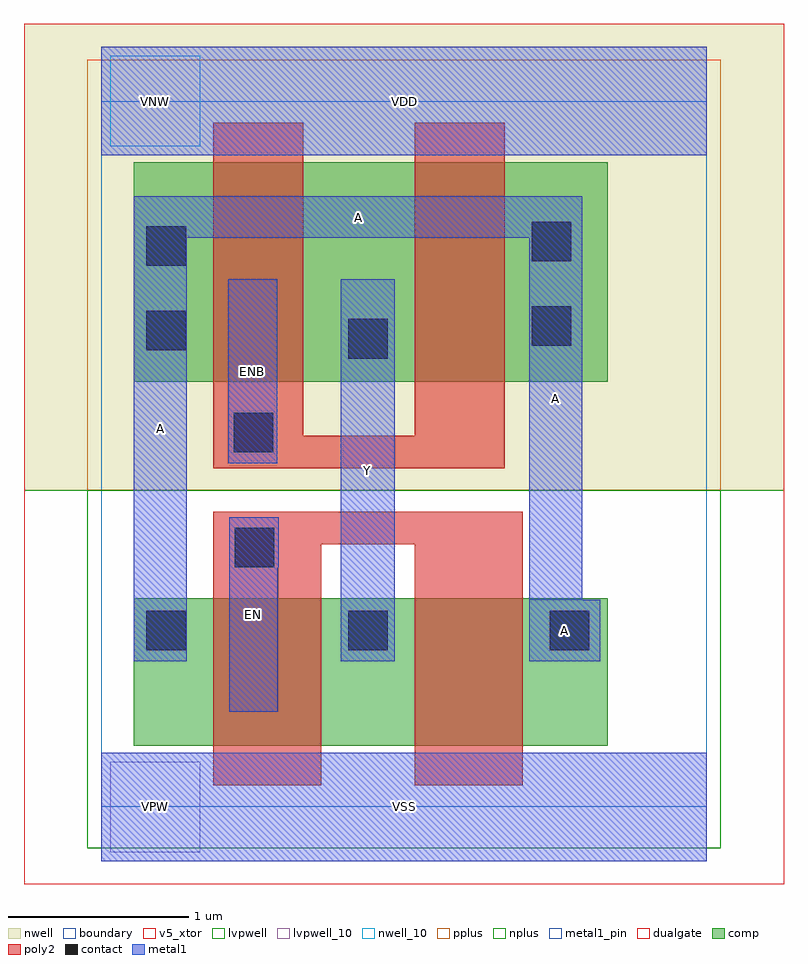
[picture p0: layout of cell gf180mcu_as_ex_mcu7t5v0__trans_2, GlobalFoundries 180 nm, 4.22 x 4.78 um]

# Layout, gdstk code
import gdstk
lib = gdstk.Library(unit=1e-6, precision=1e-09)
def R(c, l, rs):  # rectangles x0, y0, x1, y1
    for r in rs: c.add(gdstk.rectangle(r[:2], r[2:], *l))
def A(c, l, x, y, w, h, nx, ny, dx, dy):  # array of equal rectangles
    R(c, l, [(x+i*dx, y+j*dy, x+i*dx+w, y+j*dy+h) for i in range(nx) for j in range(ny)])
boundary = (0, 0)
nwell = (21, 0)
nwell_10 = (21, 10)
comp = (22, 0)
poly2 = (30, 0)
pplus = (31, 0)
nplus = (32, 0)
contact = (33, 0)
metal1 = (34, 0)
metal1_pin = (34, 10)
dualgate = (55, 0)
v5_xtor = (112, 1)
lvpwell = (204, 0)
lvpwell_10 = (204, 10)

gf180mcu_as_ex_mcu7t5v0_ = lib.new_cell('gf180mcu_as_ex_mcu7t5v0__trans_2')
R(gf180mcu_as_ex_mcu7t5v0_, boundary, [(0,0,3.36,3.92)])
R(gf180mcu_as_ex_mcu7t5v0_, nwell, [(-0.43,1.76,3.79,4.35)])
R(gf180mcu_as_ex_mcu7t5v0_, nwell_10, [(0.705,1.91,0.975,2.93), (0.05,3.67,0.55,4.17)])
R(gf180mcu_as_ex_mcu7t5v0_, comp, [(0.18,0.34,2.81,1.16), (0.18,2.36,2.81,3.58)])
R(gf180mcu_as_ex_mcu7t5v0_, poly2, [(0.62,0.12,1.22,1.46), (1.74,0.12,2.34,1.46), (0.62,1.46,2.34,1.64), (0.62,1.88,2.24,2.06), (0.62,2.06,1.12,3.8), (1.74,2.06,2.24,3.8)])
R(gf180mcu_as_ex_mcu7t5v0_, pplus, [(-0.08,1.76,3.44,4.15), (0.39,2.13,2.47,2.2), (0.02,2.2,2.97,3.74), (0.39,3.74,2.47,3.81)])
R(gf180mcu_as_ex_mcu7t5v0_, nplus, [(-0.08,-0.23,3.44,1.76), (-0.08,-0.23,3.44,1.76)])
A(gf180mcu_as_ex_mcu7t5v0_, contact, 0.25, 0.87, 0.22, 0.22, 3, 1, 1.12, 0)
R(gf180mcu_as_ex_mcu7t5v0_, contact, [(0.74,1.33,0.96,1.55), (0.735,1.97,0.955,2.19), (1.37,2.49,1.59,2.71), (0.25,2.535,0.47,2.755), (2.39,2.56,2.61,2.78), (0.25,3.005,0.47,3.225), (2.39,3.03,2.61,3.25)])
R(gf180mcu_as_ex_mcu7t5v0_, metal1, [(0,-0.3,3.36,0.3), (0.71,0.53,0.98,1.33), (0.18,0.81,0.475,3.16), (1.33,0.81,1.63,2.93), (2.375,0.81,2.77,1.15), (2.375,1.15,2.67,3.16), (0.71,1.33,0.985,1.61), (0.705,1.91,0.975,2.93), (0.18,3.16,2.67,3.39), (0,3.62,3.36,4.22)])
R(gf180mcu_as_ex_mcu7t5v0_, metal1_pin, [(0,-0.3,3.36,0.3), (0.18,0.81,0.475,3.39), (1.33,0.81,1.63,2.93), (2.375,1.15,2.67,3.39), (0.475,3.16,2.375,3.39), (0,3.62,3.36,4.22)])
R(gf180mcu_as_ex_mcu7t5v0_, dualgate, [(-0.43,-0.43,3.79,4.35), (0.22,-0.06,2.74,0.1), (-0.06,0.1,3.05,1.4), (0.22,1.4,2.74,1.56), (0.22,1.56,2.64,2.12), (-0.06,2.12,3.05,3.82), (0.22,3.82,2.64,3.98)])
R(gf180mcu_as_ex_mcu7t5v0_, v5_xtor, [(-0.43,-0.43,3.79,4.35)])
R(gf180mcu_as_ex_mcu7t5v0_, lvpwell, [(-0.43,-0.43,3.79,1.76)])
R(gf180mcu_as_ex_mcu7t5v0_, lvpwell_10, [(0.05,-0.25,0.55,0.25), (0.71,0.53,0.985,1.61), (2.375,0.81,2.77,1.15)])
gf180mcu_as_ex_mcu7t5v0_.add(gdstk.Label('Y', (1.48,1.87), layer=34, texttype=10))
gf180mcu_as_ex_mcu7t5v0_.add(gdstk.Label('A', (1.425,3.275), layer=34, texttype=10))
gf180mcu_as_ex_mcu7t5v0_.add(gdstk.Label('A', (2.522,2.27), layer=34, texttype=10))
gf180mcu_as_ex_mcu7t5v0_.add(gdstk.Label('A', (0.327,2.1), layer=34, texttype=10))
gf180mcu_as_ex_mcu7t5v0_.add(gdstk.Label('VDD', (1.68,3.92), layer=34, texttype=10))
gf180mcu_as_ex_mcu7t5v0_.add(gdstk.Label('VSS', (1.68,0), layer=34, texttype=10))
gf180mcu_as_ex_mcu7t5v0_.add(gdstk.Label('A', (2.572,0.98), layer=204, texttype=10))
gf180mcu_as_ex_mcu7t5v0_.add(gdstk.Label('VPW', (0.3,0), layer=204, texttype=10))
gf180mcu_as_ex_mcu7t5v0_.add(gdstk.Label('EN', (0.847,1.07), layer=204, texttype=10))
gf180mcu_as_ex_mcu7t5v0_.add(gdstk.Label('VNW', (0.3,3.92), layer=21, texttype=10))
gf180mcu_as_ex_mcu7t5v0_.add(gdstk.Label('ENB', (0.84,2.42), layer=21, texttype=10))

lib.write_gds('gf180mcu_as_ex_mcu7t5v0__trans_2.gds')
